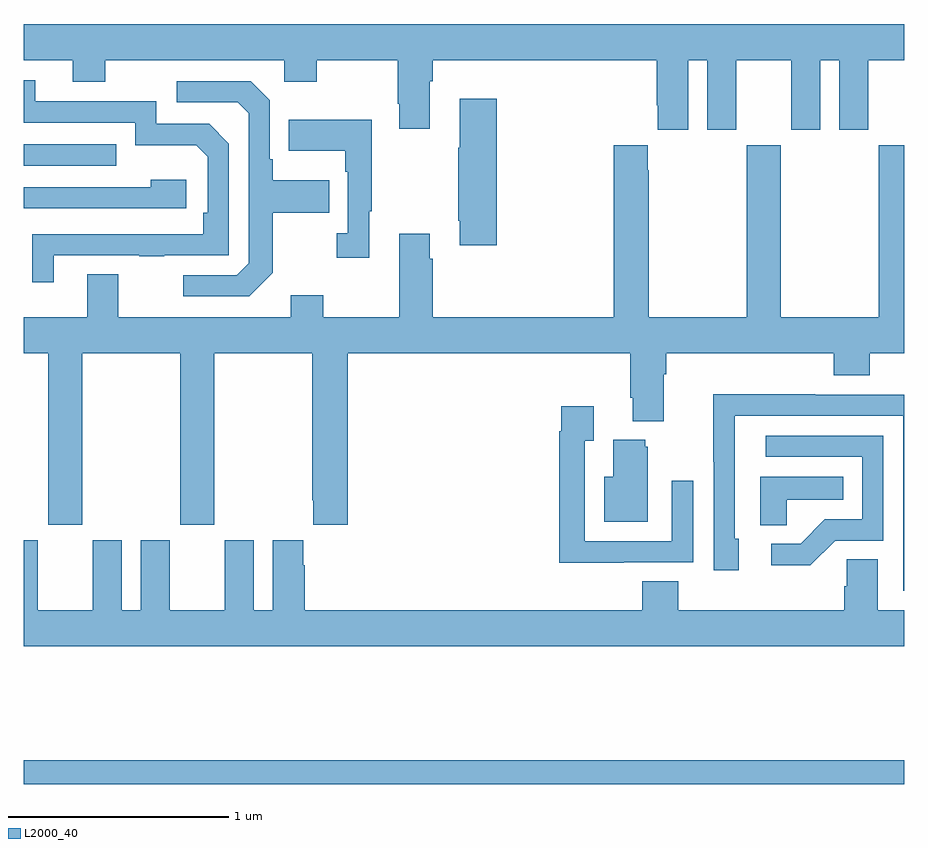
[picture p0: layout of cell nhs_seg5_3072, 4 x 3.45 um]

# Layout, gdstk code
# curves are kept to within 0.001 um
import gdstk
lib = gdstk.Library(unit=1e-6, precision=1e-09)
def R(c, l, rs):  # rectangles x0, y0, x1, y1
    for r in rs: c.add(gdstk.rectangle(r[:2], r[2:], *l))
def P(c, l, *ps):  # polygons
    for p in ps: c.add(gdstk.Polygon(p, *l))
L2000_40 = (2000, 40)

nhs_seg5_3072 = lib.new_cell('nhs_seg5_3072')
R(nhs_seg5_3072, L2000_40, [(289,858.799,293,858.908), (289,861.609,289.421,861.705)])
P(nhs_seg5_3072, L2000_40, [(292.018,862.088),(292.106,862.088),(292.106,861.771),(292.237,861.771),(292.237,862.088),(292.487,862.088),(292.487,861.771),(292.618,861.771),(292.618,862.088),(292.706,862.088),(292.706,861.771),(292.837,861.771),(292.837,862.088),(293,862.088),(293,862.252),(289,862.252),(289,862.088),(289.223,862.088),(289.223,861.989),(289.371,861.989),(289.371,862.088),(290.184,862.088),(290.184,861.989),(290.331,861.989),(290.331,862.088),(290.698,862.088),(290.698,861.889),(290.705,861.889),(290.705,861.777),(290.845,861.777),(290.845,861.992),(290.858,861.992),(290.858,862.088),(291.875,862.088),(291.875,861.883),(291.881,861.883),(291.881,861.771),(292.018,861.771)],
  [(289.135,861.201),(289.525,861.201),(289.525,861.196),(289.637,861.196),(289.637,861.201),(289.932,861.201),(289.932,861.708),(289.842,861.798),(289.602,861.798),(289.602,861.9),(289.051,861.9),(289.051,861.996),(289,861.996),(289,861.804),(289.506,861.804),(289.506,861.701),(289.783,861.701),(289.836,861.648),(289.836,861.394),(289.816,861.394),(289.816,861.297),(289.039,861.296),(289.039,861.078),(289.135,861.078)],
  [(290.131,861.121),(290.131,861.394),(290.387,861.394),(290.387,861.541),(290.131,861.541),(290.131,861.637),(290.118,861.637),(290.118,861.906),(290.031,861.993),(289.695,861.993),(289.695,861.897),(289.971,861.897),(290.022,861.846),(290.022,861.165),(289.968,861.111),(289.725,861.111),(289.725,861.015),(290.025,861.015)],
  [(291.149,861.913),(290.981,861.913),(290.981,861.689),(290.974,861.689),(290.974,861.358),(290.981,861.358),(290.981,861.246),(291.149,861.246)],
  [(290.569,861.401),(290.581,861.401),(290.581,861.817),(290.203,861.817),(290.203,861.677),(290.46,861.677),(290.46,861.581),(290.472,861.581),(290.472,861.302),(290.421,861.302),(290.421,861.189),(290.569,861.189)],
  [(289.266,860.756),(289.711,860.756),(289.711,859.977),(289.866,859.977),(289.866,860.756),(290.311,860.756),(290.311,860.089),(290.315,860.089),(290.315,859.977),(290.471,859.977),(290.471,860.756),(291.755,860.756),(291.755,860.554),(291.767,860.554),(291.767,860.447),(291.907,860.447),(291.907,860.66),(291.92,860.66),(291.92,860.756),(292.679,860.756),(292.679,860.657),(292.844,860.657),(292.844,860.756),(293,860.756),(293,861.7),(292.885,861.7),(292.885,860.92),(292.44,860.92),(292.44,861.7),(292.285,861.7),(292.285,860.92),(291.84,860.92),(291.84,861.587),(291.835,861.587),(291.835,861.7),(291.68,861.7),(291.68,860.92),(290.858,860.92),(290.858,861.185),(290.845,861.185),(290.845,861.298),(290.705,861.298),(290.705,860.92),(290.361,860.92),(290.361,861.019),(290.213,861.019),(290.213,860.92),(289.429,860.92),(289.429,861.115),(289.289,861.115),(289.289,860.92),(289,860.92),(289,860.756),(289.111,860.756),(289.111,859.977),(289.266,859.977)],
  [(289.738,861.544),(289.577,861.544),(289.577,861.51),(289,861.51),(289,861.414),(289.738,861.414)],
  [(293,860.568),(292.595,860.568),(292.595,860.57),(292.132,860.57),(292.132,860.263),(292.134,860.263),(292.134,859.77),(292.249,859.77),(292.249,859.914),(292.23,859.914),(292.23,860.472),(292.995,860.472),(292.995,859.677),(293,859.677)],
  [(291.725,859.806),(292.041,859.806),(292.041,860.176),(291.945,860.176),(291.945,859.902),(291.549,859.902),(291.549,860.359),(291.589,860.359),(291.589,860.515),(291.441,860.515),(291.441,860.402),(291.433,860.402),(291.433,859.805),(291.725,859.805)],
  [(292.686,859.905),(292.905,859.905),(292.905,860.382),(292.371,860.382),(292.371,860.286),(292.809,860.286),(292.809,860.001),(292.64,860.001),(292.529,859.89),(292.395,859.89),(292.395,859.793),(292.573,859.793)],
  [(291.835,860.331),(291.824,860.331),(291.824,860.362),(291.677,860.362),(291.677,860.194),(291.638,860.194),(291.638,859.991),(291.835,859.991)],
  [(292.467,860.09),(292.724,860.09),(292.724,860.194),(292.346,860.194),(292.346,859.975),(292.467,859.975)],
  [(293,859.588),(292.879,859.588),(292.879,859.82),(292.74,859.82),(292.74,859.697),(292.727,859.697),(292.727,859.588),(291.974,859.588),(291.974,859.721),(291.809,859.721),(291.809,859.588),(290.276,859.588),(290.276,859.793),(290.269,859.793),(290.269,859.906),(290.132,859.906),(290.132,859.588),(290.044,859.588),(290.044,859.906),(289.913,859.906),(289.913,859.588),(289.663,859.588),(289.663,859.906),(289.532,859.906),(289.532,859.588),(289.444,859.588),(289.444,859.906),(289.313,859.906),(289.313,859.588),(289.063,859.588),(289.063,859.906),(289,859.906),(289,859.424),(293,859.424)])

lib.write_gds('nhs_seg5_3072.gds')
